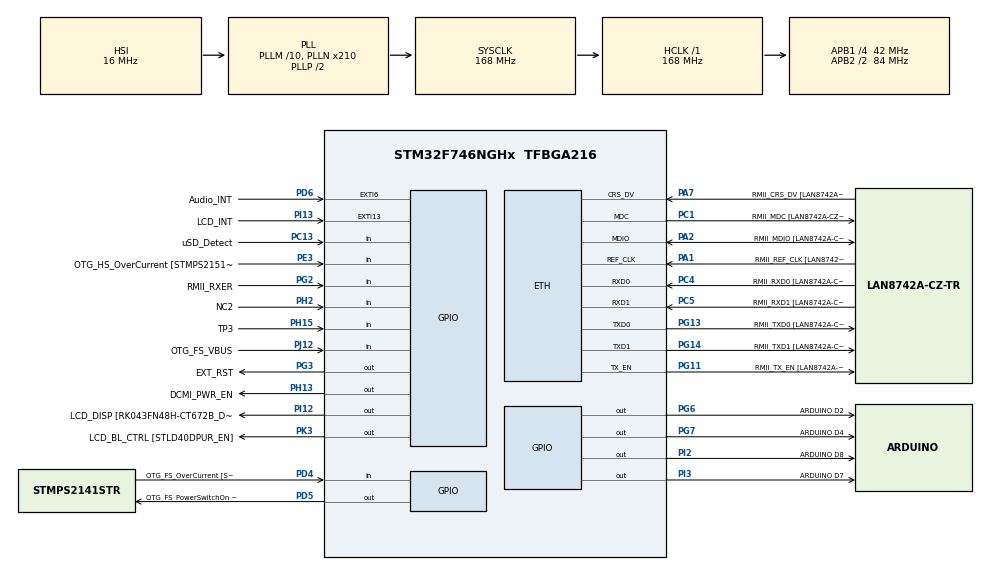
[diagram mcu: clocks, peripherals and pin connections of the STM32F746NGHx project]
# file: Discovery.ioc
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ETH.MediaInterface=ETH_MEDIA_INTERFACE_RMII
ETH.PhyAddress=0
FREERTOS.Tasks01=defaultTask,0,128,StartDefaultTask,Default,NULL
LWIP.GATEWAY_ADDRESS=172.030.000.001
LWIP.IP_ADDRESS=172.030.000.252
LWIP.LWIP_DHCP=0
LWIP.NETMASK_ADDRESS=255.255.000.000
LWIP.Version=v2.0.0_Cube
Mcu.Family=STM32F7
Mcu.Name=STM32F746NGHx
Mcu.Package=TFBGA216
NVIC.ETH_IRQn=true\:5\:0\:false\:false\:true\:true\:false
NVIC.PriorityGroup=NVIC_PRIORITYGROUP_4
PA0/WKUP.GPIO_Label=ARDUINO A0
PA0/WKUP.GPIO_Mode=GPIO_MODE_ANALOG
PA0/WKUP.GPIO_PuPd=GPIO_NOPULL
PA0/WKUP.Signal=ADCx_IN0
PA1.GPIO_Label=RMII_REF_CLK [LAN8742A-CZ-TR_REFCLK0]
PA1.Mode=RMII
PA1.Signal=ETH_REF_CLK
PA10.GPIO_Label=OTG_FS_ID
PA10.Signal=USB_OTG_FS_ID
PA11.GPIO_Label=OTG_FS_N
PA11.Signal=USB_OTG_FS_DM
PA12.GPIO_Label=OTG_FS_P
PA12.Signal=USB_OTG_FS_DP
PA13.GPIO_Label=SWDIO
PA13.Signal=SYS_JTMS-SWDIO
PA14.GPIO_Label=SWCLK
PA14.Signal=SYS_JTCK-SWCLK
PA15.GPIO_Label=ARDUINO PWM/D9
PA15.GPIO_ModeDefaultPP=GPIO_MODE_AF_PP
PA15.GPIO_PuPd=GPIO_NOPULL
PA15.GPIO_Speed=GPIO_SPEED_FREQ_LOW
PA15.Signal=S_TIM2_CH1_ETR
PA2.GPIO_Label=RMII_MDIO [LAN8742A-CZ-TR_MDIO]
PA2.Mode=RMII
PA2.Signal=ETH_MDIO
PA3.GPIO_Label=ULPI_D0 [USB3320C-EZK_D0]
PA3.Signal=USB_OTG_HS_ULPI_D0
PA4.GPIO_Label=DCMI_HSYNC
PA4.Signal=DCMI_HSYNC
PA5.GPIO_Label=ULPI_CLK [USB3320C-EZK_CLKOUT]
PA5.Signal=USB_OTG_HS_ULPI_CK
PA6.Signal=DCMI_PIXCLK
PA7.GPIO_Label=RMII_CRS_DV [LAN8742A-CZ-TR_CRS_DV]
PA7.Mode=RMII
PA7.Signal=ETH_CRS_DV
PA8.GPIO_Label=ARDUINO PWM/D5
PA8.GPIO_ModeDefaultPP=GPIO_MODE_AF_PP
PA8.GPIO_PuPd=GPIO_NOPULL
PA8.GPIO_Speed=GPIO_SPEED_FREQ_LOW
PA8.Signal=S_TIM1_CH1
PA9.GPIO_Label=VCP_TX [STM32F103CBT6_PA3]
PA9.GPIO_Mode=GPIO_MODE_AF_PP
PA9.GPIO_PuPd=GPIO_NOPULL
PA9.GPIO_Speed=GPIO_SPEED_FREQ_LOW
PA9.Signal=USART1_TX
PB0.GPIO_Label=ULPI_D1 [USB3320C-EZK_D1]
PB0.Signal=USB_OTG_HS_ULPI_D1
PB1.GPIO_Label=ULPI_D2 [USB3320C-EZK_D2]
PB1.Signal=USB_OTG_HS_ULPI_D2
PB10.GPIO_Label=ULPI_D3 [USB3320C-EZK_D3]
PB10.Signal=USB_OTG_HS_ULPI_D3
PB11.GPIO_Label=ULPI_D4 [USB3320C-EZK_D4]
PB11.Signal=USB_OTG_HS_ULPI_D4
PB12.GPIO_Label=ULPI_D5 [USB3320C-EZK_D5]
PB12.Signal=USB_OTG_HS_ULPI_D5
PB13.GPIO_Label=ULPI_D6 [USB3320C-EZK_D6]
PB13.Signal=USB_OTG_HS_ULPI_D6
PB14.GPIO_Label=ARDUINO MISO/D12
PB14.GPIO_Mode=GPIO_MODE_AF_PP
PB14.GPIO_PuPd=GPIO_NOPULL
PB14.GPIO_Speed=GPIO_SPEED_FREQ_LOW
PB14.Signal=SPI2_MISO
PB15.GPIO_Label=ARDUINO MOSI/PWM/D11
PB15.GPIO_Mode=GPIO_MODE_AF_PP
PB15.GPIO_PuPd=GPIO_NOPULL
PB15.GPIO_Speed=GPIO_SPEED_FREQ_LOW
PB15.Signal=SPI2_MOSI
PB2.Signal=QUADSPI_CLK
PB3.GPIO_Label=SWO
PB3.Signal=SYS_JTDO-SWO
PB4.GPIO_Label=ARDUINO PWM/D3
PB4.GPIO_ModeDefaultPP=GPIO_MODE_AF_PP
PB4.GPIO_PuPd=GPIO_NOPULL
PB4.GPIO_Speed=GPIO_SPEED_FREQ_LOW
PB4.Signal=S_TIM3_CH1
PB5.GPIO_Label=ULPI_D7 [USB3320C-EZK_D7]
PB5.Signal=USB_OTG_HS_ULPI_D7
PB6.GPIO_Label=QSPI_NCS [N25Q128A13EF840E_S]
PB6.Signal=QUADSPI_BK1_NCS
PB7.GPIO_Label=VCP_RX [STM32F103CBT6_PA2]
PB7.GPIO_Mode=GPIO_MODE_AF_PP
PB7.GPIO_PuPd=GPIO_NOPULL
PB7.GPIO_Speed=GPIO_SPEED_FREQ_LOW
PB7.Signal=USART1_RX
PB8.GPIO_Label=ARDUINO SCL/D15
PB8.GPIO_Mode=GPIO_MODE_AF_OD
PB8.GPIO_PuPd=GPIO_NOPULL
PB8.GPIO_Speed=GPIO_SPEED_FREQ_LOW
PB8.Signal=I2C1_SCL
PB9.GPIO_Label=ARDUINO SDA/D14
PB9.GPIO_Mode=GPIO_MODE_AF_OD
PB9.GPIO_PuPd=GPIO_NOPULL
PB9.GPIO_Speed=GPIO_SPEED_FREQ_LOW
PB9.Signal=I2C1_SDA
PC0.GPIO_Label=ULPI_STP [USB3320C-EZK_STP]
PC0.Signal=USB_OTG_HS_ULPI_STP
PC1.GPIO_Label=RMII_MDC [LAN8742A-CZ-TR_MDC]
PC1.Mode=RMII
PC1.Signal=ETH_MDC
PC10.GPIO_Label=SDMMC_D2
PC10.Signal=SDMMC1_D2
PC11.GPIO_Label=SDMMC_D3
PC11.Signal=SDMMC1_D3
PC12.GPIO_Label=SDMMC_CK
PC12.Signal=SDMMC1_CK
PC13.GPIO_Label=uSD_Detect
PC13.Signal=GPIO_Input
PC14/OSC32_IN.GPIO_Label=RCC_OSC32_IN
PC14/OSC32_IN.Signal=RCC_OSC32_IN
PC15/OSC32_OUT.GPIO_Label=RCC_OSC32_OUT
PC15/OSC32_OUT.Signal=RCC_OSC32_OUT
PC2.GPIO_Label=ULPI_DIR [USB3320C-EZK_DIR]
PC2.Signal=USB_OTG_HS_ULPI_DIR
PC3.GPIO_Label=FMC_SDCKE0 [MT48LC4M32B2B5-6A_CKE]
PC3.Signal=FMC_SDCKE0
PC4.GPIO_Label=RMII_RXD0 [LAN8742A-CZ-TR_RXD0]
PC4.Mode=RMII
PC4.Signal=ETH_RXD0
PC5.GPIO_Label=RMII_RXD1 [LAN8742A-CZ-TR_RXD1]
PC5.Mode=RMII
PC5.Signal=ETH_RXD1
PC6.GPIO_Label=ARDUINO TX/D1
PC6.Signal=USART6_TX
PC7.GPIO_Label=ARDUINO RX/D0
PC7.Signal=USART6_RX
PC8.Signal=SDMMC1_D0
PC9.Signal=SDMMC1_D1
PD0.GPIO_Label=FMC_D2 [MT48LC4M32B2B5-6A_DQ2]
PD0.Signal=FMC_D2_DA2
PD1.GPIO_Label=FMC_D3 [MT48LC4M32B2B5-6A_DQ3]
PD1.Signal=FMC_D3_DA3
PD10.GPIO_Label=FMC_D15 [MT48LC4M32B2B5-6A_DQ15]
PD10.Signal=FMC_D15_DA15
PD11.GPIO_Label=QSPI_D0 [N25Q128A13EF840E_DQ0]
PD11.Signal=QUADSPI_BK1_IO0
PD12.GPIO_Label=QSPI_D1 [N25Q128A13EF840E_DQ1]
PD12.Signal=QUADSPI_BK1_IO1
PD13.GPIO_Label=QSPI_D3 [N25Q128A13EF840E_DQ3]
PD13.Signal=QUADSPI_BK1_IO3
PD14.GPIO_Label=FMC_D0 [MT48LC4M32B2B5-6A_DQ0]
PD14.Signal=FMC_D0_DA0
PD15.GPIO_Label=FMC_D1 [MT48LC4M32B2B5-6A_DQ1]
PD15.Signal=FMC_D1_DA1
PD2.GPIO_Label=SDMMC_D0
PD2.Signal=SDMMC1_CMD
PD3.GPIO_Label=DCMI_D5
PD3.Signal=DCMI_D5
PD4.GPIO_Label=OTG_FS_OverCurrent [STMPS2141STR_Fault]
PD4.Signal=GPIO_Input
PD5.GPIO_Label=OTG_FS_PowerSwitchOn [STMPS2141STR_EN]
PD5.PinState=GPIO_PIN_SET
PD5.Signal=GPIO_Output
PD6.GPIO_Label=Audio_INT
PD6.GPIO_ModeDefaultEXTI=GPIO_MODE_EVT_RISING
PD6.Signal=GPXTI6
PD7.GPIO_Label=SPDIF_RX0 [74LVC1G04SE_4]
PD7.Signal=SPDIFRX_IN0
PD8.GPIO_Label=FMC_D13 [MT48LC4M32B2B5-6A_DQ13]
PD8.Signal=FMC_D13_DA13
PD9.GPIO_Label=FMC_D14 [MT48LC4M32B2B5-6A_DQ14]
PD9.Signal=FMC_D14_DA14
PE0.GPIO_Label=FMC_NBL0 [MT48LC4M32B2B5-6A_DQM0]
PE0.Signal=FMC_NBL0
PE1.GPIO_Label=FMC_NBL1 [MT48LC4M32B2B5-6A_DQM1]
PE1.Signal=FMC_NBL1
PE10.GPIO_Label=FMC_D7 [MT48LC4M32B2B5-6A_DQ7]
PE10.Signal=FMC_D7_DA7
PE11.GPIO_Label=FMC_D8 [MT48LC4M32B2B5-6A_DQ8]
PE11.Signal=FMC_D8_DA8
PE12.GPIO_Label=FMC_D9 [MT48LC4M32B2B5-6A_DQ9]
PE12.Signal=FMC_D9_DA9
PE13.GPIO_Label=FMC_D10 [MT48LC4M32B2B5-6A_DQ10]
PE13.Signal=FMC_D10_DA10
PE14.GPIO_Label=FMC_D11 [MT48LC4M32B2B5-6A_DQ11]
PE14.Signal=FMC_D11_DA11
PE15.GPIO_Label=FMC_D12 [MT48LC4M32B2B5-6A_DQ12]
PE15.Signal=FMC_D12_DA12
PE2.GPIO_Label=QSPI_D2 [N25Q128A13EF840E_DQ2]
PE2.Signal=QUADSPI_BK1_IO2
PE3.GPIO_Label=OTG_HS_OverCurrent [STMPS2151STR_FAULT]
PE3.Signal=GPIO_Input
PE4.GPIO_Label=LCD_B0 [RK043FN48H-CT672B_B0]
PE4.Signal=LTDC_B0
PE5.GPIO_Label=DCMI_D6
PE5.Signal=DCMI_D6
PE6.GPIO_Label=DCMI_D7
PE6.Signal=DCMI_D7
PE7.GPIO_Label=FMC_D4 [MT48LC4M32B2B5-6A_DQ4]
PE7.Signal=FMC_D4_DA4
PE8.GPIO_Label=FMC_D5 [MT48LC4M32B2B5-6A_DQ5]
PE8.Signal=FMC_D5_DA5
PE9.GPIO_Label=FMC_D6 [MT48LC4M32B2B5-6A_DQ6]
PE9.Signal=FMC_D6_DA6
PF0.GPIO_Label=FMC_A0 [MT48LC4M32B2B5-6A_A0]
PF0.Signal=FMC_A0
PF1.GPIO_Label=FMC_A1 [MT48LC4M32B2B5-6A_A1]
PF1.Signal=FMC_A1
PF10.GPIO_Label=ARDUINO A1
PF10.GPIO_Mode=GPIO_MODE_ANALOG
PF10.GPIO_PuPd=GPIO_NOPULL
PF10.Signal=ADC3_IN8
PF11.GPIO_Label=FMC_SDNRAS [MT48LC4M32B2B5-6A_RAS]
PF11.Signal=FMC_SDNRAS
PF12.GPIO_Label=FMC_A6 [MT48LC4M32B2B5-6A_A6]
PF12.Signal=FMC_A6
PF13.GPIO_Label=FMC_A7 [MT48LC4M32B2B5-6A_A7]
PF13.Signal=FMC_A7
PF14.GPIO_Label=FMC_A8 [MT48LC4M32B2B5-6A_A8]
PF14.Signal=FMC_A8
PF15.GPIO_Label=FMC_A9 [MT48LC4M32B2B5-6A_A9]
PF15.Signal=FMC_A9
PF2.GPIO_Label=FMC_A2 [MT48LC4M32B2B5-6A_A2]
PF2.Signal=FMC_A2
PF3.GPIO_Label=FMC_A3 [MT48LC4M32B2B5-6A_A3]
PF3.Signal=FMC_A3
PF4.GPIO_Label=FMC_A4 [MT48LC4M32B2B5-6A_A4]
PF4.Signal=FMC_A4
PF5.GPIO_Label=FMC_A5 [MT48LC4M32B2B5-6A_A5]
PF5.Signal=FMC_A5
PF6.GPIO_Label=ARDUINO A5
PF6.GPIO_Mode=GPIO_MODE_ANALOG
PF6.GPIO_PuPd=GPIO_NOPULL
PF6.Signal=ADC3_IN4
PF7.GPIO_Label=ARDUINO A4
PF7.GPIO_Mode=GPIO_MODE_ANALOG
PF7.GPIO_PuPd=GPIO_NOPULL
PF7.Signal=ADC3_IN5
PF8.GPIO_Label=ARDUINO A3
PF8.GPIO_Mode=GPIO_MODE_ANALOG
PF8.GPIO_PuPd=GPIO_NOPULL
PF8.Signal=ADC3_IN6
PF9.GPIO_Label=ARDUINO A2
PF9.GPIO_Mode=GPIO_MODE_ANALOG
PF9.GPIO_PuPd=GPIO_NOPULL
PF9.Signal=ADC3_IN7
PG0.GPIO_Label=FMC_A10 [MT48LC4M32B2B5-6A_A10]
PG0.Signal=FMC_A10
PG1.GPIO_Label=FMC_A11 [MT48LC4M32B2B5-6A_A11]
PG1.Signal=FMC_A11
PG10.GPIO_Label=SAI2_SDB [WM8994ECS/R_ADCDAT1]
PG10.Signal=SAI2_SD_B
PG11.GPIO_Label=RMII_TX_EN [LAN8742A-CZ-TR_TXEN]
PG11.Mode=RMII
PG11.Signal=ETH_TX_EN
PG12.GPIO_Label=LCD_B4 [RK043FN48H-CT672B_B4]
PG12.Signal=LTDC_B4
PG13.GPIO_Label=RMII_TXD0 [LAN8742A-CZ-TR_TXD0]
PG13.Mode=RMII
PG13.Signal=ETH_TXD0
PG14.GPIO_Label=RMII_TXD1 [LAN8742A-CZ-TR_TXD1]
PG14.Mode=RMII
PG14.Signal=ETH_TXD1
PG15.GPIO_Label=FMC_SDNCAS [MT48LC4M32B2B5-6A_CAS]
PG15.Signal=FMC_SDNCAS
PG2.GPIO_Label=RMII_RXER
PG2.Signal=GPIO_Input
PG3.GPIO_Label=EXT_RST
PG3.Signal=GPIO_Output
PG4.GPIO_Label=FMC_BA0 [MT48LC4M32B2B5-6A_BA0]
PG4.Signal=FMC_A14_BA0
PG5.GPIO_Label=FMC_BA1 [MT48LC4M32B2B5-6A_BA1]
PG5.Signal=FMC_A15_BA1
PG6.GPIO_Label=ARDUINO D2
PG6.Signal=GPIO_Output
PG7.GPIO_Label=ARDUINO D4
PG7.Signal=GPIO_Output
PG8.GPIO_Label=FMC_SDCLK [MT48LC4M32B2B5-6A_CLK]
PG8.Signal=FMC_SDCLK
PG9.GPIO_Label=DCMI_VSYNC
PG9.Signal=DCMI_VSYNC
PH0/OSC_IN.GPIO_Label=OSC_25M [NZ2520SB-25.00M_OUT]
PH0/OSC_IN.Signal=RCC_OSC_IN
PH1/OSC_OUT.Signal=RCC_OSC_OUT
PH10.GPIO_Label=DCMI_D1
PH10.Signal=DCMI_D1
PH11.GPIO_Label=DCMI_D2
PH11.Signal=DCMI_D2
PH12.GPIO_Label=DCMI_D3
PH12.Signal=DCMI_D3
PH13.GPIO_Label=DCMI_PWR_EN
PH13.Signal=GPIO_Output
PH14.GPIO_Label=DCMI_D4
PH14.Signal=DCMI_D4
PH15.GPIO_Label=TP3
PH15.Signal=GPIO_Input
PH2.GPIO_Label=NC2
PH2.Signal=GPIO_Input
PH3.GPIO_Label=FMC_SDNE0 [MT48LC4M32B2B5-6A_CS]
PH3.Signal=FMC_SDNE0
PH4.GPIO_Label=ULPI_NXT [USB3320C-EZK_NXT]
PH4.Signal=USB_OTG_HS_ULPI_NXT
PH5.GPIO_Label=FMC_SDNME [MT48LC4M32B2B5-6A_WE]
PH5.Signal=FMC_SDNWE
PH6.GPIO_Label=ARDUINO PWM/D6
PH6.Signal=S_TIM12_CH1
PH7.GPIO_Label=LCD_SCL [RK043FN48H-CT672B_SCL]
PH7.Signal=I2C3_SCL
PH8.GPIO_Label=LCD_SDA [RK043FN48H-CT672B_SDA]
PH8.Signal=I2C3_SDA
PH9.GPIO_Label=DCMI_D0
PH9.Signal=DCMI_D0
PI0.GPIO_Label=ARDUINO PWM/CS/D10
PI0.GPIO_ModeDefaultPP=GPIO_MODE_AF_PP
PI0.GPIO_PuPd=GPIO_NOPULL
PI0.GPIO_Speed=GPIO_SPEED_FREQ_LOW
PI0.Signal=S_TIM5_CH4
PI1.GPIO_Label=ARDUINO SCK/D13
PI1.GPIO_Mode=GPIO_MODE_AF_PP
PI1.GPIO_PuPd=GPIO_NOPULL
PI1.GPIO_Speed=GPIO_SPEED_FREQ_LOW
PI1.Signal=SPI2_SCK
PI10.GPIO_Label=LCD_HSYNC [RK043FN48H-CT672B_HSYNC]
PI10.Signal=LTDC_HSYNC
PI12.GPIO_Label=LCD_DISP [RK043FN48H-CT672B_DISP] 
PI12.Signal=GPIO_Output
PI13.GPIO_Label=LCD_INT
PI13.GPIO_ModeDefaultEXTI=GPIO_MODE_EVT_RISING
PI13.Signal=GPXTI13
PI14.GPIO_Label=LCD_CLK [RK043FN48H-CT672B_CLK]
PI14.Signal=LTDC_CLK
PI15.GPIO_Label=LCD_R0 [RK043FN48H-CT672B_R0]
PI15.Signal=LTDC_R0
PI2.GPIO_Label=ARDUINO D8
PI2.Signal=GPIO_Output
PI3.GPIO_Label=ARDUINO D7
PI3.Signal=GPIO_Output
PI4.GPIO_Label=SAI2_MCLKA [WM8994ECS/R_MCLK1]
PI4.Signal=SAI2_MCLK_A
PI5.GPIO_Label=SAI2_SCKA [WM8994ECS/R_BCLK1]
PI5.Signal=SAI2_SCK_A
PI6.GPIO_Label=SAI2_SDA [WM8994ECS/R_DACDAT1]
PI6.Signal=SAI2_SD_A
PI7.GPIO_Label=SAI2_FSA [WM8994ECS/R_LRCLK1]
PI7.Signal=SAI2_FS_A
PI8.GPIO_Label=NC1 [TP2]
PI8.Signal=RTC_TS
PI9.GPIO_Label=LCD_VSYNC [RK043FN48H-CT672B_VSYNC]
PI9.Signal=LTDC_VSYNC
PJ0.GPIO_Label=LCD_R1 [RK043FN48H-CT672B_R1]
PJ0.Signal=LTDC_R1
PJ1.GPIO_Label=LCD_R2 [RK043FN48H-CT672B_R2]
PJ1.Signal=LTDC_R2
PJ10.GPIO_Label=LCD_G3 [RK043FN48H-CT672B_G3]
PJ10.Signal=LTDC_G3
PJ11.GPIO_Label=LCD_G4 [RK043FN48H-CT672B_G4]
PJ11.Signal=LTDC_G4
PJ12.GPIO_Label=OTG_FS_VBUS
PJ12.Signal=GPIO_Input
PJ13.GPIO_Label=LCD_B1 [RK043FN48H-CT672B_B1]
PJ13.Signal=LTDC_B1
PJ14.GPIO_Label=LCD_B2 [RK043FN48H-CT672B_B2]
PJ14.Signal=LTDC_B2
PJ15.GPIO_Label=LCD_B3 [RK043FN48H-CT672B_B3]
PJ15.Signal=LTDC_B3
PJ2.GPIO_Label=LCD_R3 [RK043FN48H-CT672B_R3]
PJ2.Signal=LTDC_R3
PJ3.GPIO_Label=LCD_R4 [RK043FN48H-CT672B_R4]
PJ3.Signal=LTDC_R4
PJ4.GPIO_Label=LCD_R5 [RK043FN48H-CT672B_R5]
PJ4.Signal=LTDC_R5
PJ5.GPIO_Label=LCD_R6 [RK043FN48H-CT672B_R6]
PJ5.Signal=LTDC_R6
PJ6.GPIO_Label=LCD_R7 [RK043FN48H-CT672B_R7]
PJ6.Signal=LTDC_R7
PJ7.GPIO_Label=LCD_G0 [RK043FN48H-CT672B_G0]
PJ7.Signal=LTDC_G0
PJ8.GPIO_Label=LCD_G1 [RK043FN48H-CT672B_G1]
PJ8.Signal=LTDC_G1
PJ9.GPIO_Label=LCD_G2 [RK043FN48H-CT672B_G2]
PJ9.Signal=LTDC_G2
PK0.GPIO_Label=LCD_G5 [RK043FN48H-CT672B_G5]
PK0.Signal=LTDC_G5
PK1.GPIO_Label=LCD_G6 [RK043FN48H-CT672B_G6]
PK1.Signal=LTDC_G6
PK2.GPIO_Label=LCD_G7 [RK043FN48H-CT672B_G7]
PK2.Signal=LTDC_G7
PK3.GPIO_Label=LCD_BL_CTRL [STLD40DPUR_EN]
PK3.Signal=GPIO_Output
PK4.GPIO_Label=LCD_B5 [RK043FN48H-CT672B_B5]
PK4.Signal=LTDC_B5
PK5.GPIO_Label=LCD_B6 [RK043FN48H-CT672B_B6]
PK5.Signal=LTDC_B6
PK6.GPIO_Label=LCD_B7 [RK043FN48H-CT672B_B7]
PK6.Signal=LTDC_B7
PK7.GPIO_Label=LCD_DE [RK043FN48H-CT672B_DE]
PK7.Signal=LTDC_DE
ProjectManager.HeapSize=0x200
ProjectManager.StackSize=0x400
ProjectManager.TargetToolchain=SW4STM32
RCC.AHBFreq_Value=168000000
RCC.APB1CLKDivider=RCC_HCLK_DIV4
RCC.APB1Freq_Value=42000000
RCC.APB1TimFreq_Value=84000000
RCC.APB2CLKDivider=RCC_HCLK_DIV2
RCC.APB2Freq_Value=84000000
RCC.APB2TimFreq_Value=168000000
RCC.CortexFreq_Value=168000000
RCC.HCLKFreq_Value=168000000
RCC.HSE_VALUE=25000000
RCC.HSI_VALUE=16000000
RCC.LSE_VALUE=32768
RCC.PLLM=10
RCC.PLLN=210
RCC.PLLSourceVirtual=RCC_PLLSOURCE_HSI
RCC.SYSCLKFreq_VALUE=168000000
RCC.SYSCLKSource=RCC_SYSCLKSOURCE_PLLCLK
RCC.USBFreq_Value=168000000
RCC.VCOOutputFreq_Value=336000000
SH.ADCx_IN0.0=ADC3_IN0
SH.FMC_A0.0=FMC_A0
SH.FMC_A1.0=FMC_A1
SH.FMC_A10.0=FMC_A10
SH.FMC_A11.0=FMC_A11
SH.FMC_A14_BA0.0=FMC_BA0
SH.FMC_A15_BA1.0=FMC_BA1
SH.FMC_A2.0=FMC_A2
SH.FMC_A3.0=FMC_A3
SH.FMC_A4.0=FMC_A4
SH.FMC_A5.0=FMC_A5
SH.FMC_A6.0=FMC_A6
SH.FMC_A7.0=FMC_A7
SH.FMC_A8.0=FMC_A8
SH.FMC_A9.0=FMC_A9
SH.FMC_D0_DA0.0=FMC_D0
SH.FMC_D10_DA10.0=FMC_D10
SH.FMC_D11_DA11.0=FMC_D11
SH.FMC_D12_DA12.0=FMC_D12
SH.FMC_D13_DA13.0=FMC_D13
SH.FMC_D14_DA14.0=FMC_D14
SH.FMC_D15_DA15.0=FMC_D15
SH.FMC_D1_DA1.0=FMC_D1
SH.FMC_D2_DA2.0=FMC_D2
SH.FMC_D3_DA3.0=FMC_D3
SH.FMC_D4_DA4.0=FMC_D4
SH.FMC_D5_DA5.0=FMC_D5
SH.FMC_D6_DA6.0=FMC_D6
SH.FMC_D7_DA7.0=FMC_D7
SH.FMC_D8_DA8.0=FMC_D8
SH.FMC_D9_DA9.0=FMC_D9
SH.FMC_NBL0.0=FMC_NBL0
SH.FMC_NBL1.0=FMC_NBL1
SH.FMC_SDCLK.0=FMC_SDCLK
SH.FMC_SDNCAS.0=FMC_SDNCAS
SH.FMC_SDNRAS.0=FMC_SDNRAS
SH.FMC_SDNWE.0=FMC_SDNWE
SH.S_TIM12_CH1.0=TIM12_CH1
SH.S_TIM1_CH1.0=TIM1_CH1
SH.S_TIM2_CH1_ETR.0=TIM2_CH1
SH.S_TIM3_CH1.0=TIM3_CH1
SH.S_TIM5_CH4.0=TIM5_CH4
VP_FREERTOS_VS_ENABLE.Mode=Enabled
VP_LWIP_VS_Enabled.Mode=Enabled
board=STM32F746G-DISCO

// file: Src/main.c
/**
  ******************************************************************************
  * File Name          : main.c
  * Description        : Main program body
  ******************************************************************************
  * This notice applies to any and all portions of this file
  * that are not between comment pairs USER CODE BEGIN and
  * USER CODE END. Other portions of this file, whether
  * inserted by the user or by software development tools
  * are owned by their respective copyright owners.
  *
  * Copyright (c) 2017 STMicroelectronics International N.V.
  * All rights reserved.
  *
  * Redistribution and use in source and binary forms, with or without
  * modification, are permitted, provided that the following conditions are met:
  *
  * 1. Redistribution of source code must retain the above copyright notice,
  *    this list of conditions and the following disclaimer.
  * 2. Redistributions in binary form must reproduce the above copyright notice,
  *    this list of conditions and the following disclaimer in the documentation
  *    and/or other materials provided with the distribution.
  * 3. Neither the name of STMicroelectronics nor the names of other
  *    contributors to this software may be used to endorse or promote products
  *    derived from this software without specific written permission.
  * 4. This software, including modifications and/or derivative works of this
  *    software, must execute solely and exclusively on microcontroller or
  *    microprocessor devices manufactured by or for STMicroelectronics.
  * 5. Redistribution and use of this software other than as permitted under
  *    this license is void and will automatically terminate your rights under
  *    this license.
  *
  * THIS SOFTWARE IS PROVIDED BY STMICROELECTRONICS AND CONTRIBUTORS "AS IS"
  * AND ANY EXPRESS, IMPLIED OR STATUTORY WARRANTIES, INCLUDING, BUT NOT
  * LIMITED TO, THE IMPLIED WARRANTIES OF MERCHANTABILITY, FITNESS FOR A
  * PARTICULAR PURPOSE AND NON-INFRINGEMENT OF THIRD PARTY INTELLECTUAL PROPERTY
  * RIGHTS ARE DISCLAIMED TO THE FULLEST EXTENT PERMITTED BY LAW. IN NO EVENT
  * SHALL STMICROELECTRONICS OR CONTRIBUTORS BE LIABLE FOR ANY DIRECT, INDIRECT,
  * INCIDENTAL, SPECIAL, EXEMPLARY, OR CONSEQUENTIAL DAMAGES (INCLUDING, BUT NOT
  * LIMITED TO, PROCUREMENT OF SUBSTITUTE GOODS OR SERVICES; LOSS OF USE, DATA,
  * OR PROFITS; OR BUSINESS INTERRUPTION) HOWEVER CAUSED AND ON ANY THEORY OF
  * LIABILITY, WHETHER IN CONTRACT, STRICT LIABILITY, OR TORT (INCLUDING
  * NEGLIGENCE OR OTHERWISE) ARISING IN ANY WAY OUT OF THE USE OF THIS SOFTWARE,
  * EVEN IF ADVISED OF THE POSSIBILITY OF SUCH DAMAGE.
  *
  ******************************************************************************
  */

#include "main.h"
#include "stm32f7xx_hal.h"
#include "cmsis_os.h"
#include "lwip.h"
#include "gpio.h"

/* USER CODE BEGIN PV */
/* Private variables ---------------------------------------------------------*/

/* USER CODE END PV */

void SystemClock_Config(void);
void MX_FREERTOS_Init(void);

/* USER CODE BEGIN PFP */
/* Private function prototypes -----------------------------------------------*/

/* USER CODE END PFP */

int main(void)
{

  /* MCU Configuration----------------------------------------------------------*/

  /* Reset of all peripherals, Initializes the Flash interface and the Systick. */
  HAL_Init();

  /* Configure the system clock */
  SystemClock_Config();

  /* Initialize all configured peripherals */
  MX_GPIO_Init();

  /* Call init function for freertos objects (in freertos.c) */
  MX_FREERTOS_Init();

  /* Start scheduler */
  osKernelStart();

  /* We should never get here as control is now taken by the scheduler */

  /* Infinite loop */
  while (1)
  {

  }

}

/** System Clock Configuration
*/
void SystemClock_Config(void)
{

  RCC_OscInitTypeDef RCC_OscInitStruct;
  RCC_ClkInitTypeDef RCC_ClkInitStruct;

    /**Configure the main internal regulator output voltage
    */
  __HAL_RCC_PWR_CLK_ENABLE();

  __HAL_PWR_VOLTAGESCALING_CONFIG(PWR_REGULATOR_VOLTAGE_SCALE2);

    /**Initializes the CPU, AHB and APB busses clocks
    */
  RCC_OscInitStruct.OscillatorType = RCC_OSCILLATORTYPE_HSI;
  RCC_OscInitStruct.HSIState = RCC_HSI_ON;
  RCC_OscInitStruct.HSICalibrationValue = 16;
  RCC_OscInitStruct.PLL.PLLState = RCC_PLL_ON;
  RCC_OscInitStruct.PLL.PLLSource = RCC_PLLSOURCE_HSI;
  RCC_OscInitStruct.PLL.PLLM = 10;
  RCC_OscInitStruct.PLL.PLLN = 210;
  RCC_OscInitStruct.PLL.PLLP = RCC_PLLP_DIV2;
  RCC_OscInitStruct.PLL.PLLQ = 2;
  if (HAL_RCC_OscConfig(&RCC_OscInitStruct) != HAL_OK)
  {
    _Error_Handler(__FILE__, __LINE__);
  }

    /**Initializes the CPU, AHB and APB busses clocks
    */
  RCC_ClkInitStruct.ClockType = RCC_CLOCKTYPE_HCLK|RCC_CLOCKTYPE_SYSCLK
                              |RCC_CLOCKTYPE_PCLK1|RCC_CLOCKTYPE_PCLK2;
  RCC_ClkInitStruct.SYSCLKSource = RCC_SYSCLKSOURCE_PLLCLK;
  RCC_ClkInitStruct.AHBCLKDivider = RCC_SYSCLK_DIV1;
  RCC_ClkInitStruct.APB1CLKDivider = RCC_HCLK_DIV4;
  RCC_ClkInitStruct.APB2CLKDivider = RCC_HCLK_DIV2;

  if (HAL_RCC_ClockConfig(&RCC_ClkInitStruct, FLASH_LATENCY_5) != HAL_OK)
  {
    _Error_Handler(__FILE__, __LINE__);
  }

    /**Configure the Systick interrupt time
    */
  HAL_SYSTICK_Config(HAL_RCC_GetHCLKFreq()/1000);

    /**Configure the Systick
    */
  HAL_SYSTICK_CLKSourceConfig(SYSTICK_CLKSOURCE_HCLK);

  /* SysTick_IRQn interrupt configuration */
  HAL_NVIC_SetPriority(SysTick_IRQn, 15, 0);
}

void _Error_Handler(char * file, int line)
{
  while(1)
  {
  }
}

/************************ (C) COPYRIGHT STMicroelectronics *****END OF FILE****/

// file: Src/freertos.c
/**
 ******************************************************************************
 * File Name          : freertos.c
 * Description        : Code for freertos applications
 ******************************************************************************
 * This notice applies to any and all portions of this file
 * that are not between comment pairs USER CODE BEGIN and
 * USER CODE END. Other portions of this file, whether
 * inserted by the user or by software development tools
 * are owned by their respective copyright owners.
 *
 * Copyright (c) 2017 STMicroelectronics International N.V.
 * All rights reserved.
 *
 * Redistribution and use in source and binary forms, with or without
 * modification, are permitted, provided that the following conditions are met:
 *
 * 1. Redistribution of source code must retain the above copyright notice,
 *    this list of conditions and the following disclaimer.
 * 2. Redistributions in binary form must reproduce the above copyright notice,
 *    this list of conditions and the following disclaimer in the documentation
 *    and/or other materials provided with the distribution.
 * 3. Neither the name of STMicroelectronics nor the names of other
 *    contributors to this software may be used to endorse or promote products
 *    derived from this software without specific written permission.
 * 4. This software, including modifications and/or derivative works of this
 *    software, must execute solely and exclusively on microcontroller or
 *    microprocessor devices manufactured by or for STMicroelectronics.
 * 5. Redistribution and use of this software other than as permitted under
 *    this license is void and will automatically terminate your rights under
 *    this license.
 *
 * THIS SOFTWARE IS PROVIDED BY STMICROELECTRONICS AND CONTRIBUTORS "AS IS"
 * AND ANY EXPRESS, IMPLIED OR STATUTORY WARRANTIES, INCLUDING, BUT NOT
 * LIMITED TO, THE IMPLIED WARRANTIES OF MERCHANTABILITY, FITNESS FOR A
 * PARTICULAR PURPOSE AND NON-INFRINGEMENT OF THIRD PARTY INTELLECTUAL PROPERTY
 * RIGHTS ARE DISCLAIMED TO THE FULLEST EXTENT PERMITTED BY LAW. IN NO EVENT
 * SHALL STMICROELECTRONICS OR CONTRIBUTORS BE LIABLE FOR ANY DIRECT, INDIRECT,
 * INCIDENTAL, SPECIAL, EXEMPLARY, OR CONSEQUENTIAL DAMAGES (INCLUDING, BUT NOT
 * LIMITED TO, PROCUREMENT OF SUBSTITUTE GOODS OR SERVICES; LOSS OF USE, DATA,
 * OR PROFITS; OR BUSINESS INTERRUPTION) HOWEVER CAUSED AND ON ANY THEORY OF
 * LIABILITY, WHETHER IN CONTRACT, STRICT LIABILITY, OR TORT (INCLUDING
 * NEGLIGENCE OR OTHERWISE) ARISING IN ANY WAY OUT OF THE USE OF THIS SOFTWARE,
 * EVEN IF ADVISED OF THE POSSIBILITY OF SUCH DAMAGE.
 *
 ******************************************************************************
 */

#include "FreeRTOS.h"
#include "task.h"
#include "cmsis_os.h"

/* USER CODE BEGIN Includes */
#include "lwip/api.h"
#include "lwip/sys.h"
/* USER CODE END Includes */

osThreadId defaultTaskHandle;

/* USER CODE BEGIN Variables */
osThreadId udpTaskHandle;
osThreadId tcpTaskHandle;

static struct netconn *udp_conn;
static struct netbuf *udp_buf;
static struct ip_addr *udp_addr;
static unsigned short udp_port;

static struct netconn *tcp_conn;
static struct netbuf *tcp_buf;
static struct ip_addr *tcp_addr;
static unsigned short tcp_port;

/* USER CODE END Variables */

void StartDefaultTask(void const * argument);

extern void MX_LWIP_Init(void);
void MX_FREERTOS_Init(void); /* (MISRA C 2004 rule 8.1) */

/* USER CODE BEGIN FunctionPrototypes */
void StartUdpTask(void const * argument);
void StartTcpTask(void const * argument);

/* USER CODE END FunctionPrototypes */

/* Hook prototypes */

/* Init FreeRTOS */

void MX_FREERTOS_Init(void) {

	/* Create the thread(s) */
	/* definition and creation of defaultTask */
	osThreadDef(defaultTask, StartDefaultTask, osPriorityNormal, 0, 512);
	defaultTaskHandle = osThreadCreate(osThread(defaultTask), NULL);

	/* USER CODE BEGIN RTOS_THREADS */
	osThreadDef(udpTask, StartUdpTask, osPriorityNormal, 0, 512);
	udpTaskHandle = osThreadCreate(osThread(udpTask), NULL);

	osThreadDef(tcpTask, StartTcpTask, osPriorityNormal, 0, 512);
	tcpTaskHandle = osThreadCreate(osThread(tcpTask), NULL);

	/* USER CODE END RTOS_THREADS */

}

/* StartDefaultTask function */
void StartDefaultTask(void const * argument) {

	/* init code for LWIP */
	MX_LWIP_Init();

	for (;;) {
		osDelay(1);
	}
}

/* StartUdpTask function */
void StartUdpTask(void const * argument) {

	osDelay(1000);

	err_t err, recv_err;

	udp_conn = netconn_new(NETCONN_UDP);
	if (udp_conn != NULL) {
		err = netconn_bind(udp_conn, IP_ADDR_ANY, 7055);
		if (err == ERR_OK) {
			while (1) {
				recv_err = netconn_recv(udp_conn, &udp_buf);

				if (recv_err == ERR_OK) {
					udp_addr = netbuf_fromaddr(udp_buf);
					udp_port = netbuf_fromport(udp_buf);
					netconn_connect(udp_conn, udp_addr, udp_port);
					udp_buf->addr.addr = 0;
					netconn_send(udp_conn, udp_buf);
					netbuf_delete(udp_buf);
				} else {
					printf("recv error\n");
				}
			}
		} else {
			netconn_delete(udp_conn);
			printf("can not bind netconn");
		}
	} else {
		printf("can create new UDP netconn");
	}
}

/* StartTcpTask function */
void StartTcpTask(void const * argument) {
	struct netconn *newconn;

	err_t err, accept_err, recv_err;
	void *data;
	u16_t len;

	osDelay(1000);

	/* Create a new connection identifier. */
	tcp_conn = netconn_new(NETCONN_TCP);

	if (tcp_conn != NULL) {
		/* Bind connection to well known port number 7066. */
		err = netconn_bind(tcp_conn, NULL, 7066);

		if (err == ERR_OK) {
			/* Tell connection to go into listening mode. */
			netconn_listen(tcp_conn);

			while (1) {
				/* Grab new connection. */
				accept_err = netconn_accept(tcp_conn, &newconn);

				/* Process the new connection. */
				if (accept_err == ERR_OK) {
					recv_err = netconn_recv(newconn, &tcp_buf);
					while (recv_err == ERR_OK) {
						do {
							netbuf_data(tcp_buf, &data, &len);
							netconn_write(newconn, data, len, NETCONN_COPY);

						} while (netbuf_next(tcp_buf) >= 0);

						netbuf_delete(tcp_buf);
						recv_err = netconn_recv(newconn, &tcp_buf);
					}

					/* Close connection and discard connection identifier. */
					netconn_close(newconn);
					netconn_delete(newconn);
				}
			}
		} else {
			netconn_delete(newconn);
			printf(" can not bind TCP netconn");
		}
	} else {
		printf("can not create TCP netconn");
	}
}

/************************ (C) COPYRIGHT STMicroelectronics *****END OF FILE****/
